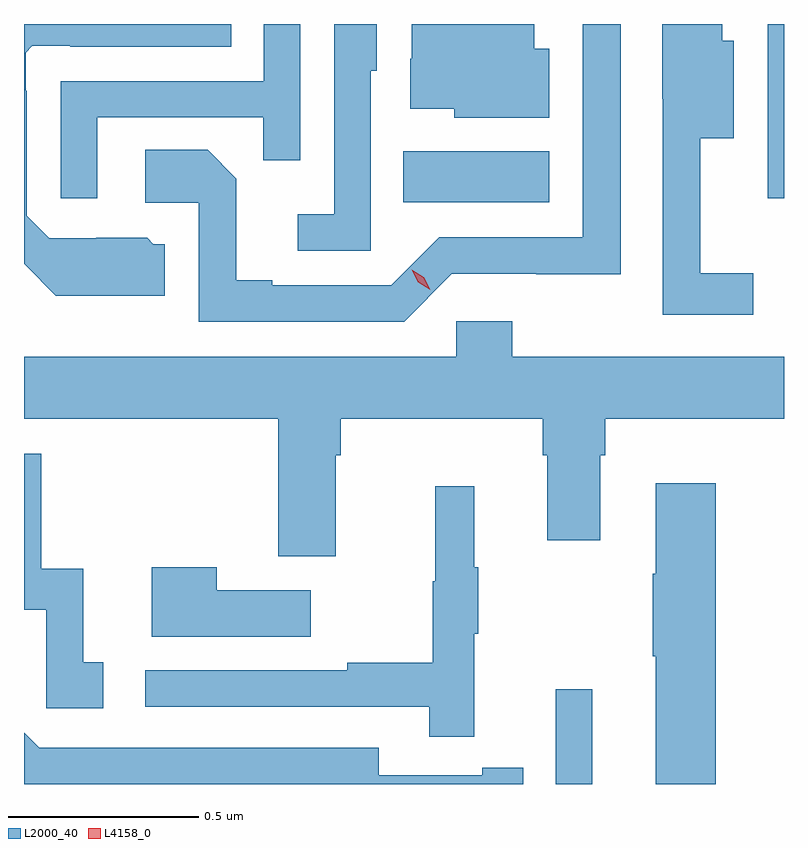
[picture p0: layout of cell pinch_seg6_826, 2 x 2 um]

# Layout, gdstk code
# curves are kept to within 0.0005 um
import gdstk
lib = gdstk.Library(unit=1e-6, precision=1e-09)
def R(c, l, rs):  # rectangles x0, y0, x1, y1
    for r in rs: c.add(gdstk.rectangle(r[:2], r[2:], *l))
def P(c, l, *ps):  # polygons
    for p in ps: c.add(gdstk.Polygon(p, *l))
L2000_40 = (2000, 40)
L4158_0 = (4158, 0)

pinch_seg6_826 = lib.new_cell('pinch_seg6_826')
R(pinch_seg6_826, L2000_40, [(159.969,986.335,160.066,986.584), (159.568,987.866,159.952,988), (160.527,987.876,160.57,988.335)])
P(pinch_seg6_826, L2000_40, [(159.483,988.212),(159.498,988.212),(159.498,988.335),(159.387,988.335),(159.387,987.835),(159.291,987.835),(159.291,987.738),(159.483,987.738)],
  [(158.941,987.756),(158.91,987.756),(158.894,987.772),(158.76,987.772),(158.76,987.771),(158.637,987.771),(158.577,987.831),(158.577,988.16),(158.574,988.16),(158.574,988.26),(158.592,988.278),(158.692,988.278),(158.692,988.275),(159.116,988.275),(159.116,988.335),(158.57,988.335),(158.57,987.704),(158.653,987.62),(158.941,987.62)],
  [(159.696,987.678),(159.918,987.678),(159.918,987.677),(160.141,987.677),(160.141,988.335),(160.04,988.335),(160.04,987.774),(159.663,987.774),(159.537,987.648),(159.223,987.648),(159.223,987.661),(159.129,987.661),(159.129,987.928),(159.053,988.004),(158.889,988.004),(158.889,987.864),(159.03,987.864),(159.03,987.552),(159.57,987.552)],
  [(160.489,987.679),(160.349,987.679),(160.349,988.034),(160.438,988.034),(160.438,988.291),(160.408,988.291),(160.408,988.335),(160.25,988.335),(160.25,988.138),(160.251,988.138),(160.251,987.57),(160.489,987.57)],
  [(158.763,988.089),(159.199,988.089),(159.199,987.976),(159.297,987.976),(159.297,988.335),(159.201,988.335),(159.201,988.185),(158.667,988.185),(158.667,987.876),(158.763,987.876)],
  [(159.952,988.27),(159.913,988.27),(159.913,988.335),(159.591,988.335),(159.591,988.244),(159.587,988.244),(159.587,988.112),(159.702,988.112),(159.702,988.088),(159.952,988.088)],
  [(159.391,987.2),(159.404,987.2),(159.404,987.296),(159.935,987.296),(159.935,987.2),(159.947,987.2),(159.947,986.976),(160.087,986.976),(160.087,987.2),(160.1,987.2),(160.1,987.296),(160.57,987.296),(160.57,987.46),(159.855,987.46),(159.855,987.553),(159.708,987.553),(159.708,987.46),(158.57,987.46),(158.57,987.296),(159.239,987.296),(159.239,986.934),(159.391,986.934)],
  [(158.779,986.655),(158.726,986.655),(158.726,986.902),(158.615,986.902),(158.615,987.204),(158.57,987.204),(158.57,986.793),(158.628,986.793),(158.628,986.535),(158.779,986.535)],
  [(160.391,987.127),(160.232,987.127),(160.232,986.888),(160.225,986.888),(160.225,986.671),(160.232,986.671),(160.232,986.335),(160.391,986.335)],
  [(159.755,986.731),(159.766,986.731),(159.766,986.905),(159.755,986.905),(159.755,987.118),(159.652,987.118),(159.652,986.868),(159.645,986.868),(159.645,986.654),(159.421,986.654),(159.421,986.634),(158.889,986.634),(158.889,986.538),(159.637,986.538),(159.637,986.46),(159.755,986.46)],
  [(159.325,986.845),(159.077,986.845),(159.077,986.905),(158.906,986.905),(158.906,986.723),(159.325,986.723)],
  [(159.884,986.378),(159.776,986.378),(159.776,986.358),(159.504,986.358),(159.504,986.43),(158.61,986.43),(158.57,986.47),(158.57,986.335),(159.884,986.335)])
P(pinch_seg6_826, L4158_0, [(159.639,987.636),(159.608,987.655),(159.591,987.688),(159.591,987.688),(159.591,987.688),(159.622,987.669),(159.639,987.636),(159.639,987.636)])

lib.write_gds('pinch_seg6_826.gds')
